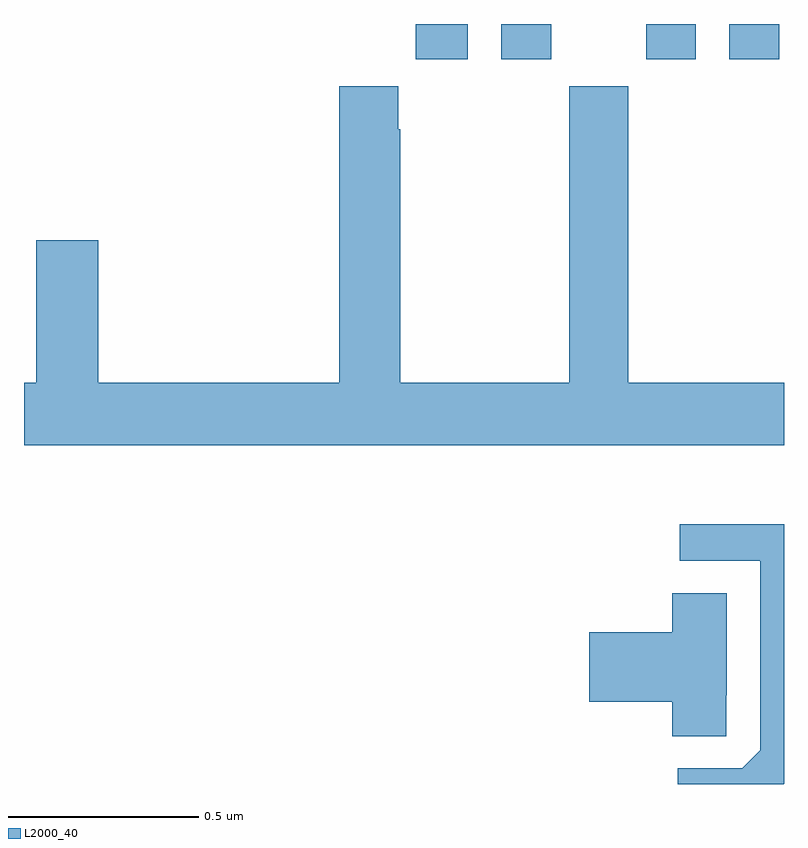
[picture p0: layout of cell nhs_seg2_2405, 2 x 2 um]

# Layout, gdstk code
import gdstk
lib = gdstk.Library(unit=1e-6, precision=1e-09)
def R(c, l, rs):  # rectangles x0, y0, x1, y1
    for r in rs: c.add(gdstk.rectangle(r[:2], r[2:], *l))
def P(c, l, *ps):  # polygons
    for p in ps: c.add(gdstk.Polygon(p, *l))
L2000_40 = (2000, 40)

nhs_seg2_2405 = lib.new_cell('nhs_seg2_2405')
R(nhs_seg2_2405, L2000_40, [(142.031,592.707,142.168,592.8), (142.256,592.707,142.387,592.8), (142.637,592.707,142.768,592.8), (142.856,592.707,142.987,592.8)])
P(nhs_seg2_2405, L2000_40, [(143,591.856),(142.59,591.856),(142.59,592.636),(142.435,592.636),(142.435,591.856),(141.99,591.856),(141.99,592.523),(141.985,592.523),(141.985,592.636),(141.83,592.636),(141.83,591.856),(141.196,591.856),(141.196,592.231),(141.032,592.231),(141.032,591.856),(141,591.856),(141,591.692),(143,591.692)],
  [(143,590.801),(143,591.483),(142.725,591.483),(142.725,591.387),(142.938,591.387),(142.938,590.889),(142.89,590.841),(142.721,590.841),(142.721,590.8),(142.999,590.8)],
  [(142.848,591.034),(142.849,591.034),(142.849,591.302),(142.706,591.302),(142.706,591.2),(142.488,591.2),(142.488,591.017),(142.706,591.017),(142.706,590.926),(142.848,590.926)])

lib.write_gds('nhs_seg2_2405.gds')
